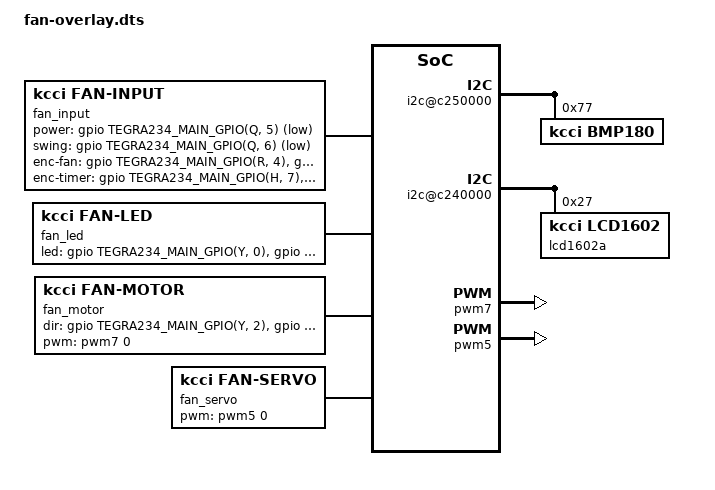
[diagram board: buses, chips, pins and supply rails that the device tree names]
/dts-v1/;
/plugin/;

#include <dt-bindings/gpio/tegra234-gpio.h>
#include <dt-bindings/gpio/gpio.h>

/ {
    overlay-name = "kcci fan project";
    compatible = "nvidia,p3768-0000+p3767-0005", "nvidia,p3768-0000+p3767-0005-super";   /* 보드 compatible로 수정 */

    fragment@0 {
        target-path = "/";
        __overlay__ {
            fan_input {                                  /* A */
                compatible = "kcci,fan-input";
                power-gpios     = <&gpio TEGRA234_MAIN_GPIO(Q, 5) GPIO_ACTIVE_LOW>;
                swing-gpios     = <&gpio TEGRA234_MAIN_GPIO(Q, 6) GPIO_ACTIVE_LOW>;
                enc-fan-gpios   = <&gpio TEGRA234_MAIN_GPIO(R, 4)  GPIO_ACTIVE_HIGH>,   /* A  */
                                  <&gpio TEGRA234_MAIN_GPIO(R, 5)  GPIO_ACTIVE_HIGH>,   /* B  */
                                  <&gpio TEGRA234_MAIN_GPIO(AC, 6) GPIO_ACTIVE_LOW>;    /* SW */
                enc-timer-gpios = <&gpio TEGRA234_MAIN_GPIO(H, 7) GPIO_ACTIVE_HIGH>,
                                  <&gpio TEGRA234_MAIN_GPIO(I, 2) GPIO_ACTIVE_HIGH>,
                                  <&gpio TEGRA234_MAIN_GPIO(I, 1) GPIO_ACTIVE_LOW>;
                debounce-ms = <20>;
                pinctrl-names = "default";
                pinctrl-0 = <&fan_input_pins>;
            };
            fan_led {                                    /* A */
                compatible = "kcci,fan-led";
                led-gpios = <&gpio TEGRA234_MAIN_GPIO(Y, 0) GPIO_ACTIVE_HIGH>,
                            <&gpio TEGRA234_MAIN_GPIO(Y, 4) GPIO_ACTIVE_HIGH>,
                            <&gpio TEGRA234_MAIN_GPIO(Y, 3) GPIO_ACTIVE_HIGH>,
                            <&gpio TEGRA234_MAIN_GPIO(Y, 1) GPIO_ACTIVE_HIGH>;
                pinctrl-names = "default";
                pinctrl-0 = <&fan_led_pins>;
            };
            fan_motor {                                  /* C */
                compatible = "kcci,fan-motor";
                pwms = <&pwm7 0 50000>;                  /* 20 kHz */
                dir-gpios = <&gpio TEGRA234_MAIN_GPIO(Y, 2) GPIO_ACTIVE_HIGH>,   /* IN1 */
                            <&gpio TEGRA234_MAIN_GPIO(I, 0) GPIO_ACTIVE_HIGH>;   /* IN2 */
                pinctrl-names = "default";
                pinctrl-0 = <&fan_motor_pins>;
            };
            fan_servo {                                  /* C */
                compatible = "kcci,fan-servo";
                pwms = <&pwm5 0 5000000>;
                min-pulse-us = <500>;
                max-pulse-us = <2500>;
                swing-min-deg = <30>;
                swing-max-deg = <150>;
            };
        };
    };

    fragment@10 {
        target = <&pinmux>;
        __overlay__ {
            fan_motor_pins: fan-motor-pins {
                in1 { nvidia,pins = "spi3_mosi_py2";  nvidia,function = "rsvd1"; nvidia,gpio-mode = <0>; nvidia,pull = <1>; nvidia,tristate = <0>; nvidia,enable-input = <0>; nvidia,open-drain = <0>; };
                in2 { nvidia,pins = "soc_gpio42_pi0"; nvidia,function = "rsvd2"; nvidia,gpio-mode = <0>; nvidia,pull = <1>; nvidia,tristate = <0>; nvidia,enable-input = <0>; nvidia,open-drain = <0>; };
            };
            fan_led_pins: fan-led-pins {
                led1 { nvidia,pins = "spi3_sck_py0"; nvidia,gpio-mode = <0>; nvidia,pull = <1>; nvidia,tristate = <0>; nvidia,enable-input = <0>; nvidia,open-drain = <0>; };
                led2 { nvidia,pins = "spi3_cs1_py4"; nvidia,gpio-mode = <0>; nvidia,pull = <1>; nvidia,tristate = <0>; nvidia,enable-input = <0>; nvidia,open-drain = <0>; };
                led3 { nvidia,pins = "spi3_cs0_py3"; nvidia,gpio-mode = <0>; nvidia,pull = <1>; nvidia,tristate = <0>; nvidia,enable-input = <0>; nvidia,open-drain = <0>; };
                led4 { nvidia,pins = "spi3_miso_py1"; nvidia,gpio-mode = <0>; nvidia,pull = <1>; nvidia,tristate = <0>; nvidia,enable-input = <0>; nvidia,open-drain = <0>; };
            };
            fan_input_pins: fan-input-pins {
                btn-power { nvidia,pins = "soc_gpio32_pq5"; nvidia,gpio-mode = <0>; nvidia,pull = <0>; nvidia,tristate = <1>; nvidia,enable-input = <1>; nvidia,schmitt = <1>; };
                btn-swing { nvidia,pins = "soc_gpio33_pq6"; nvidia,gpio-mode = <0>; nvidia,pull = <0>; nvidia,tristate = <1>; nvidia,enable-input = <1>; nvidia,schmitt = <1>; };
            };
        };
    };

    fragment@1 {                                         /* B */
        target-path = "/bus@0/i2c@c250000";              /* i2c-7, 확인 필요 */
        __overlay__ {
            #address-cells = <1>;
            #size-cells = <0>;
            bmp180@77 { compatible = "kcci,bmp180";  reg = <0x77>; };
        };
    };

    fragment@2 { 
	target-path = "/bus@0/i2c@c240000";
	__overlay__ {
	    #address-cells = <1>;
	    #size-cells = <0>;
            lcd1602a@27 { compatible = "kcci,lcd1602"; reg = <0x27>; };
        };    
    };

    fragment@3 { target = <&pwm7>; __overlay__ { status = "okay"; }; };
    fragment@4 { target = <&pwm5>; __overlay__ { status = "okay"; }; };

    /* pinmux(입력 허용 등)는 보드 DT에서 핀 노드 이름을 확인해 추가한다 (12장) */
};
